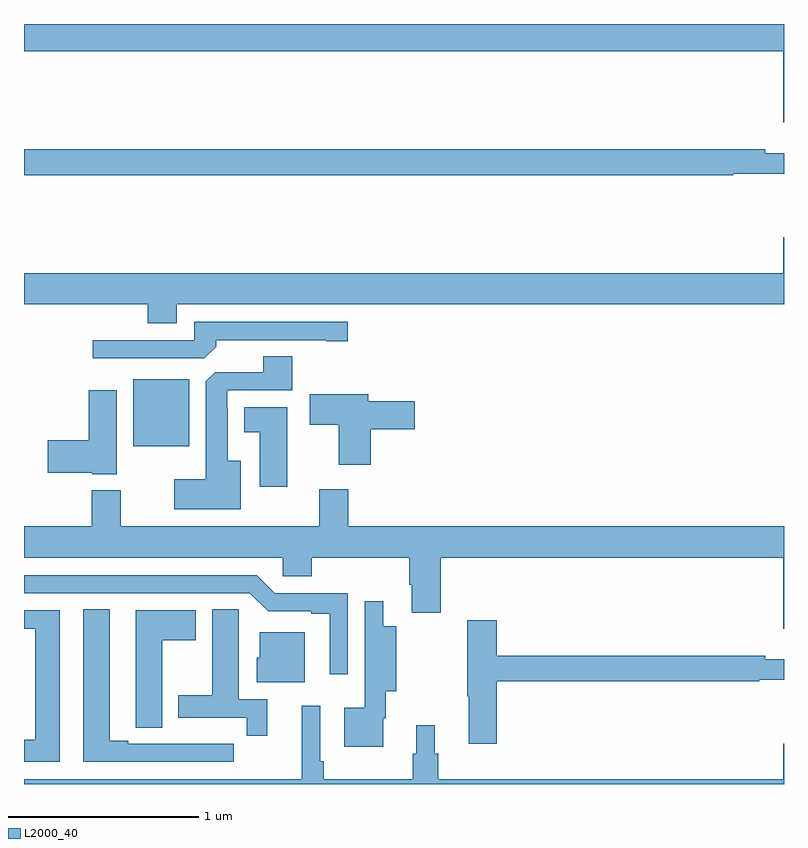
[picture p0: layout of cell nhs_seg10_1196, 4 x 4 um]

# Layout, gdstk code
import gdstk
lib = gdstk.Library(unit=1e-6, precision=1e-09)
def R(c, l, rs):  # rectangles x0, y0, x1, y1
    for r in rs: c.add(gdstk.rectangle(r[:2], r[2:], *l))
def P(c, l, *ps):  # polygons
    for p in ps: c.add(gdstk.Polygon(p, *l))
L2000_40 = (2000, 40)

nhs_seg10_1196 = lib.new_cell('nhs_seg10_1196')
R(nhs_seg10_1196, L2000_40, [(173.576,1258.277,173.869,1258.63)])
P(nhs_seg10_1196, L2000_40, [(177,1260.5),(173,1260.5),(173,1260.356),(176.996,1260.356),(176.996,1259.982),(177,1259.982)],
  [(176.734,1259.712),(177,1259.712),(177,1259.821),(176.9,1259.821),(176.9,1259.84),(173,1259.84),(173,1259.704),(176.734,1259.704)],
  [(173.803,1259.024),(177,1259.024),(177,1259.377),(176.996,1259.377),(176.996,1259.188),(173,1259.188),(173,1259.024),(173.651,1259.024),(173.651,1258.925),(173.803,1258.925)],
  [(174.011,1258.802),(174.011,1258.836),(174.59,1258.836),(174.59,1258.831),(174.703,1258.831),(174.703,1258.932),(173.895,1258.932),(173.895,1258.836),(173.361,1258.836),(173.361,1258.74),(173.949,1258.74)],
  [(174.142,1258.201),(174.073,1258.201),(174.073,1258.475),(174.069,1258.475),(174.069,1258.572),(174.413,1258.572),(174.413,1258.751),(174.26,1258.751),(174.26,1258.668),(174.006,1258.668),(173.957,1258.619),(173.957,1258.105),(173.79,1258.105),(173.79,1257.947),(174.142,1257.947)],
  [(173.488,1258.573),(173.342,1258.573),(173.342,1258.31),(173.124,1258.31),(173.124,1258.139),(173.358,1258.139),(173.358,1258.13),(173.488,1258.13)],
  [(174.824,1258.367),(175.057,1258.367),(175.057,1258.514),(174.811,1258.514),(174.811,1258.552),(174.504,1258.552),(174.504,1258.39),(174.656,1258.39),(174.656,1258.179),(174.824,1258.179)],
  [(174.385,1258.483),(174.158,1258.483),(174.158,1258.352),(174.242,1258.352),(174.242,1258.065),(174.385,1258.065)],
  [(177,1257.856),(174.707,1257.856),(174.707,1258.051),(174.554,1258.051),(174.554,1257.856),(173.509,1257.856),(173.509,1258.045),(173.357,1258.045),(173.357,1257.856),(173,1257.856),(173,1257.692),(174.363,1257.692),(174.363,1257.594),(174.515,1257.594),(174.515,1257.692),(175.028,1257.692),(175.028,1257.55),(175.04,1257.55),(175.04,1257.402),(175.193,1257.402),(175.193,1257.692),(176.996,1257.692),(176.996,1257.318),(177,1257.318)],
  [(174.705,1257.504),(174.321,1257.504),(174.225,1257.6),(173,1257.6),(173,1257.504),(174.189,1257.504),(174.285,1257.408),(174.512,1257.408),(174.512,1257.396),(174.608,1257.396),(174.608,1257.078),(174.705,1257.078)],
  [(174.891,1256.846),(174.904,1256.846),(174.904,1256.987),(174.96,1256.987),(174.96,1257.331),(174.892,1257.331),(174.892,1257.463),(174.794,1257.463),(174.794,1257.227),(174.793,1257.227),(174.793,1256.902),(174.686,1256.902),(174.686,1256.696),(174.891,1256.696)],
  [(174.281,1256.946),(174.13,1256.946),(174.13,1257.308),(174.129,1257.308),(174.129,1257.419),(173.99,1257.419),(173.99,1256.967),(173.813,1256.967),(173.813,1256.85),(174.172,1256.85),(174.172,1256.754),(174.281,1256.754)],
  [(174.103,1256.712),(173.99,1256.712),(173.99,1256.713),(173.824,1256.713),(173.824,1256.712),(173.548,1256.712),(173.548,1256.727),(173.452,1256.727),(173.452,1257.419),(173.312,1257.419),(173.312,1256.616),(174.103,1256.616)],
  [(173.728,1257.256),(173.905,1257.256),(173.905,1257.415),(173.588,1257.415),(173.588,1256.905),(173.589,1256.905),(173.589,1256.797),(173.728,1256.797)],
  [(173.188,1257.414),(173,1257.414),(173,1257.318),(173.06,1257.318),(173.06,1256.732),(173,1256.732),(173,1256.616),(173.188,1256.616)],
  [(175.487,1257.04),(176.87,1257.04),(176.87,1257.048),(177,1257.048),(177,1257.157),(176.9,1257.157),(176.9,1257.176),(175.487,1257.176),(175.487,1257.361),(175.333,1257.361),(175.333,1256.963),(175.34,1256.963),(175.34,1256.712),(175.487,1256.712)],
  [(174.478,1257.298),(174.242,1257.298),(174.242,1257.165),(174.224,1257.165),(174.224,1257.035),(174.478,1257.035)],
  [(177,1256.713),(176.996,1256.713),(176.996,1256.524),(175.181,1256.524),(175.181,1256.658),(175.162,1256.658),(175.162,1256.809),(175.064,1256.809),(175.064,1256.658),(175.045,1256.658),(175.045,1256.524),(174.578,1256.524),(174.578,1256.62),(174.558,1256.62),(174.558,1256.911),(174.461,1256.911),(174.461,1256.524),(173,1256.524),(173,1256.5),(177,1256.5)])

lib.write_gds('nhs_seg10_1196.gds')
